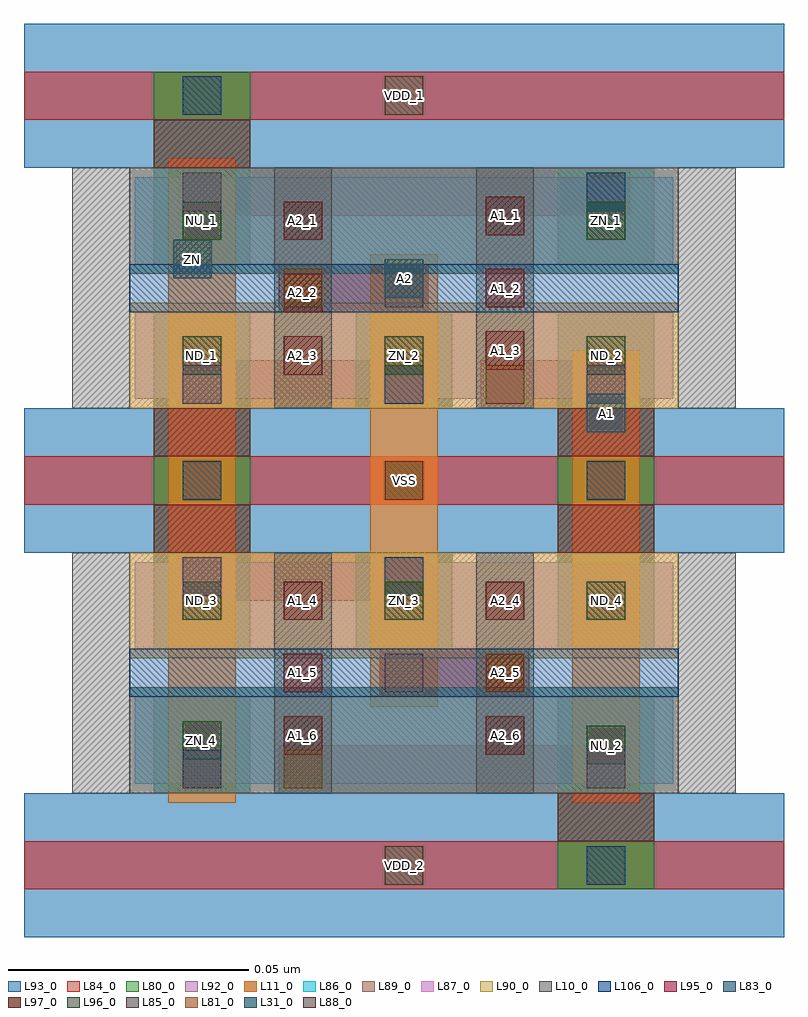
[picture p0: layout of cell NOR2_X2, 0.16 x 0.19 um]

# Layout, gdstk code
import gdstk
lib = gdstk.Library(unit=1e-6, precision=1e-09)
def R(c, l, rs):  # rectangles x0, y0, x1, y1
    for r in rs: c.add(gdstk.rectangle(r[:2], r[2:], *l))
def A(c, l, x, y, w, h, nx, ny, dx, dy):  # array of equal rectangles
    R(c, l, [(x+i*dx, y+j*dy, x+i*dx+w, y+j*dy+h) for i in range(nx) for j in range(ny)])
L10_0 = (10, 0)
L11_0 = (11, 0)
L31_0 = (31, 0)
L80_0 = (80, 0)
L81_0 = (81, 0)
L83_0 = (83, 0)
L84_0 = (84, 0)
L85_0 = (85, 0)
L86_0 = (86, 0)
L87_0 = (87, 0)
L88_0 = (88, 0)
L89_0 = (89, 0)
L90_0 = (90, 0)
L92_0 = (92, 0)
L93_0 = (93, 0)
L95_0 = (95, 0)
L96_0 = (96, 0)
L97_0 = (97, 0)
L106_0 = (106, 0)

nor2_x2 = lib.new_cell('NOR2_X2')
A(nor2_x2, L10_0, -0.027, -0.065, 0.012, 0.05, 4, 2, 0.042, 0.08)
A(nor2_x2, L11_0, -0.007, -0.047, 0.014, 0.034, 3, 3, 0.042, 0.02)
R(nor2_x2, L11_0, [(-0.007,-0.067,0.007,-0.033), (0.077,-0.067,0.091,-0.033), (-0.007,0.013,0.007,0.047), (0.035,0.013,0.049,0.047), (-0.007,0.033,0.007,0.067)])
R(nor2_x2, L31_0, [(0.08,0.01,0.088,0.018), (0.038,0.038,0.046,0.046), (-0.006,0.042,0.002,0.05)])
A(nor2_x2, L80_0, -0.01, 0.015, 0.02, 0.02, 3, 1, 0.042, 0)
R(nor2_x2, L80_0, [(0.074,-0.085,0.094,-0.064), (-0.01,-0.065,0.01,-0.045), (0.074,-0.065,0.094,-0.045), (-0.01,-0.035,0.01,-0.015), (-0.01,-0.035,0.01,-0.015), (0.032,-0.035,0.052,-0.015), (0.032,-0.035,0.052,-0.015), (0.074,-0.035,0.094,-0.015), (0.074,-0.035,0.094,-0.015), (-0.01,-0.024,0.01,0.005), (0.074,-0.024,0.094,0.005), (-0.01,-0.005,0.01,0.016), (0.074,-0.005,0.094,0.016), (-0.01,0.045,0.01,0.065), (-0.01,0.045,0.01,0.065), (0.074,0.045,0.094,0.065), (0.074,0.045,0.094,0.065), (-0.01,0.056,0.01,0.085)])
R(nor2_x2, L81_0, [(0.017,-0.064,0.025,-0.056), (0.059,-0.044,0.067,-0.036), (0.059,0.016,0.067,0.024), (0.017,0.036,0.025,0.044)])
R(nor2_x2, L83_0, [(0.08,-0.084,0.088,-0.076), (-0.004,-0.064,0.004,-0.056), (0.038,-0.024,0.046,-0.016), (-0.004,-0.004,0.004,0.004), (-0.004,-0.004,0.004,0.004), (0.08,-0.004,0.088,0.004), (0.08,-0.004,0.088,0.004), (0.038,0.016,0.046,0.024), (0.08,0.056,0.088,0.064), (0.08,0.056,0.088,0.064), (0.08,0.056,0.088,0.064), (0.08,0.056,0.088,0.064), (-0.004,0.076,0.004,0.084)])
A(nor2_x2, L84_0, -0.037, -0.085, 0.158, 0.01, 1, 3, 0, 0.08)
A(nor2_x2, L84_0, 0.016, -0.065, 0.031, 0.01, 3, 1, 0.021, 0)
A(nor2_x2, L84_0, -0.005, 0.055, 0.031, 0.01, 4, 1, 0.021, 0)
R(nor2_x2, L84_0, [(-0.005,-0.065,0.005,-0.055), (0.037,-0.045,0.068,-0.035), (-0.005,-0.025,0.026,-0.015), (0.016,-0.025,0.047,-0.015), (-0.005,0.015,0.026,0.025), (0.016,0.015,0.047,0.025), (0.058,0.015,0.089,0.025), (0.016,0.035,0.047,0.045)])
A(nor2_x2, L85_0, -0.004, -0.064, 0.008, 0.008, 1, 4, 0, 0.04)
R(nor2_x2, L85_0, [(0.08,-0.064,0.088,-0.056), (0.038,-0.044,0.046,-0.036), (0.08,0.016,0.088,0.024), (0.038,0.036,0.046,0.044)])
R(nor2_x2, L86_0, [(-0.015,-0.065,0.099,-0.043), (-0.015,0.043,0.099,0.065)])
R(nor2_x2, L87_0, [(-0.015,-0.037,0.099,-0.015), (-0.015,0.015,0.099,0.037)])
A(nor2_x2, L88_0, 0.038, -0.084, 0.008, 0.008, 1, 3, 0, 0.08)
R(nor2_x2, L89_0, [(-0.015,-0.065,0.099,-0.043), (-0.015,0.043,0.099,0.065)])
R(nor2_x2, L90_0, [(-0.015,-0.037,0.099,-0.015), (-0.015,0.015,0.099,0.037)])
R(nor2_x2, L92_0, [(-0.014,-0.063,0.098,-0.045), (-0.014,-0.035,0.098,-0.017), (-0.014,0.017,0.098,0.035), (-0.014,0.045,0.098,0.063)])
A(nor2_x2, L93_0, -0.037, -0.095, 0.158, 0.03, 1, 3, 0, 0.08)
R(nor2_x2, L95_0, [(0.074,-0.075,0.094,-0.065), (-0.01,-0.015,0.01,-0.005), (0.074,-0.015,0.094,-0.005), (-0.01,0.005,0.01,0.015), (0.074,0.005,0.094,0.015), (-0.01,0.065,0.01,0.075)])
A(nor2_x2, L96_0, -0.004, -0.029, 0.008, 0.008, 3, 2, 0.042, 0.051)
R(nor2_x2, L96_0, [(0.08,-0.059,0.088,-0.051), (-0.004,-0.058,0.004,-0.05), (-0.004,0.05,0.004,0.058), (0.08,0.05,0.088,0.058)])
R(nor2_x2, L97_0, [(0.017,-0.057,0.025,-0.049), (0.059,-0.057,0.067,-0.049), (0.017,-0.044,0.025,-0.036), (0.059,-0.044,0.067,-0.036), (0.017,-0.029,0.025,-0.021), (0.059,-0.029,0.067,-0.021), (0.017,0.022,0.025,0.03), (0.059,0.023,0.067,0.031), (0.017,0.035,0.025,0.043), (0.059,0.036,0.067,0.044), (0.017,0.05,0.025,0.058), (0.059,0.051,0.067,0.059)])
R(nor2_x2, L106_0, [(-0.015,-0.045,0.099,-0.035), (-0.015,0.035,0.099,0.045)])
nor2_x2.add(gdstk.Label('A1', (0.084,0.014), layer=31, texttype=0))
nor2_x2.add(gdstk.Label('A2', (0.042,0.042), layer=31, texttype=0))
nor2_x2.add(gdstk.Label('ZN', (-0.002,0.046), layer=31, texttype=0))
nor2_x2.add(gdstk.Label('A1_6', (0.021,-0.053), layer=97, texttype=0))
nor2_x2.add(gdstk.Label('A1_5', (0.021,-0.04), layer=97, texttype=0))
nor2_x2.add(gdstk.Label('A1_4', (0.021,-0.025), layer=97, texttype=0))
nor2_x2.add(gdstk.Label('A2_4', (0.063,-0.025), layer=97, texttype=0))
nor2_x2.add(gdstk.Label('A2_5', (0.063,-0.04), layer=97, texttype=0))
nor2_x2.add(gdstk.Label('A2_6', (0.063,-0.053), layer=97, texttype=0))
nor2_x2.add(gdstk.Label('A1_3', (0.063,0.027), layer=97, texttype=0))
nor2_x2.add(gdstk.Label('A1_2', (0.063,0.04), layer=97, texttype=0))
nor2_x2.add(gdstk.Label('A1_1', (0.063,0.055), layer=97, texttype=0))
nor2_x2.add(gdstk.Label('A2_1', (0.021,0.054), layer=97, texttype=0))
nor2_x2.add(gdstk.Label('A2_2', (0.021,0.039), layer=97, texttype=0))
nor2_x2.add(gdstk.Label('A2_3', (0.021,0.026), layer=97, texttype=0))
nor2_x2.add(gdstk.Label('ZN_4', (0,-0.054), layer=96, texttype=0))
nor2_x2.add(gdstk.Label('ZN_1', (0.084,0.054), layer=96, texttype=0))
nor2_x2.add(gdstk.Label('ZN_2', (0.042,0.026), layer=96, texttype=0))
nor2_x2.add(gdstk.Label('ZN_3', (0.042,-0.025), layer=96, texttype=0))
nor2_x2.add(gdstk.Label('NU_2', (0.084,-0.055), layer=96, texttype=0))
nor2_x2.add(gdstk.Label('ND_4', (0.084,-0.025), layer=96, texttype=0))
nor2_x2.add(gdstk.Label('ND_3', (0,-0.025), layer=96, texttype=0))
nor2_x2.add(gdstk.Label('ND_2', (0.084,0.026), layer=96, texttype=0))
nor2_x2.add(gdstk.Label('NU_1', (0,0.054), layer=96, texttype=0))
nor2_x2.add(gdstk.Label('ND_1', (0,0.026), layer=96, texttype=0))
nor2_x2.add(gdstk.Label('VDD_1', (0.042,0.08), layer=88, texttype=0))
nor2_x2.add(gdstk.Label('VSS', (0.042,0), layer=88, texttype=0))
nor2_x2.add(gdstk.Label('VDD_2', (0.042,-0.08), layer=88, texttype=0))

lib.write_gds('NOR2_X2.gds')
